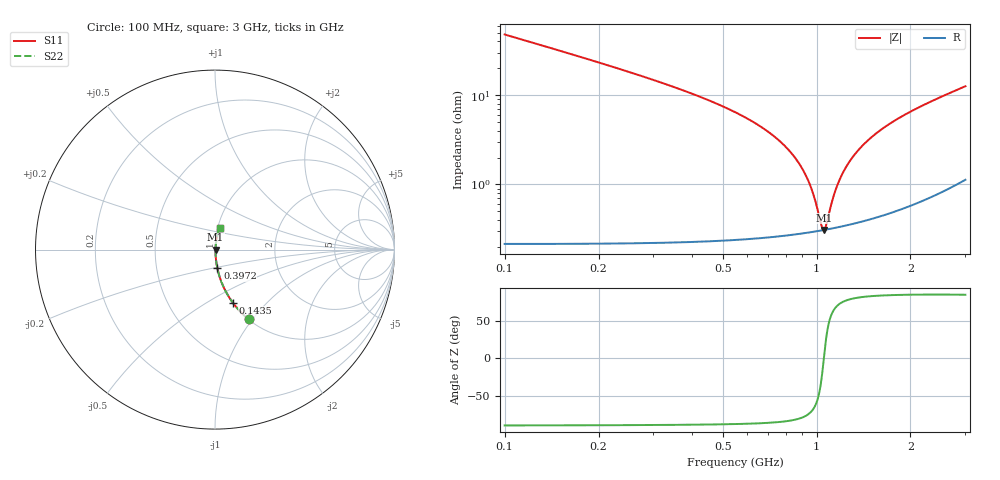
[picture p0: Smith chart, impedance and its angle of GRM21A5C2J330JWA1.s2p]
!Murata Part Number: GRM21A5C2J330JWA1
!These Parameters are Measured in Series Mode Connection
!Data Generated on Mar 30, 2021
!  o--ll--o
!Port1  Port2
!  o------o
!Operation Temp=25[degC], DC Bias Voltage=0[V]
!Freq. Start=100[MHz] Stop=3[GHz] 401[Steps]
# Hz S RI R 50
!Freq.(Hz) S11(Real) S11(Imag) S21(Real) S21(Imag) S12(Real) S12(Imag) S22(Real) S22(Imag)
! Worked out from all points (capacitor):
!   401 points, 100 MHz to 3 GHz, reference 50 ohm
!   read as one part in series: C = 32.9 pF near 114.5 MHz
!   lowest |Z| = 310 mohm at 1.057 GHz (marker M1)
!   series resonance near 1.055 GHz, so ESL is about 690 pH
!   S11 on the Smith chart (normalised r, x): 100 MHz: 1.00, -0.96; 143.5 MHz: 1.00, -0.66; 397.2 MHz: 1.00, -0.21; 3 GHz: 1.02, +0.25
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1e8  0.1876 -0.3882  0.8124 0.3882  0.8124 0.3882  0.1876 -0.3882
1.435e8  0.1 -0.2968  0.9 0.2968  0.9 0.2968  0.1 -0.2968
2.45e8  0.0356 -0.1796  0.9644 0.1796  0.9644 0.1796  0.0356 -0.1796
3.9725e8  0.013 -0.1029  0.987 0.1029  0.987 0.1029  0.013 -0.1029
5.8575e8  0.00567 -0.0568  0.9943 0.0568  0.9943 0.0568  0.00567 -0.0568
7.5975e8  0.00356 -0.0306  0.9964 0.0306  0.9964 0.0306  0.00356 -0.0306
8.7575e8  0.00308 -0.0172  0.9969 0.0172  0.9969 0.0172  0.00308 -0.0172
9.555e8  0.00299 -0.00914  0.997 0.00914  0.997 0.00914  0.00299 -0.00914
9.845e8  0.003 -0.00639  0.997 0.00639  0.997 0.00639  0.003 -0.00639
1.03525e9  0.00305 -0.00177  0.997 0.00177  0.997 0.00177  0.00305 -0.00177
1.057e9  0.00309 0.000144  0.9969 -0.000144  0.9969 -0.000144  0.00309 0.000144
1.0715e9  0.00311 0.0014  0.9969 -0.0014  0.9969 -0.0014  0.00311 0.0014
1.12225e9  0.00324 0.00566  0.9968 -0.00566  0.9968 -0.00566  0.00324 0.00566
1.15125e9  0.00333 0.00802  0.9967 -0.00802  0.9967 -0.00802  0.00333 0.00802
1.1875e9  0.00346 0.0109  0.9965 -0.0109  0.9965 -0.0109  0.00346 0.0109
1.23825e9  0.00367 0.0148  0.9963 -0.0148  0.9963 -0.0148  0.00367 0.0148
1.36875e9  0.00435 0.0243  0.9957 -0.0243  0.9957 -0.0243  0.00435 0.0243
1.55e9  0.00558 0.0366  0.9944 -0.0366  0.9944 -0.0366  0.00558 0.0366
1.76025e9  0.00738 0.0498  0.9926 -0.0498  0.9926 -0.0498  0.00738 0.0498
2.03575e9  0.0103 0.0662  0.9897 -0.0662  0.9897 -0.0662  0.0103 0.0662
2.5215e9  0.0171 0.0939  0.9829 -0.0939  0.9829 -0.0939  0.0171 0.0939
3e9  0.0262 0.1208  0.9738 -0.1208  0.9738 -0.1208  0.0262 0.1208
